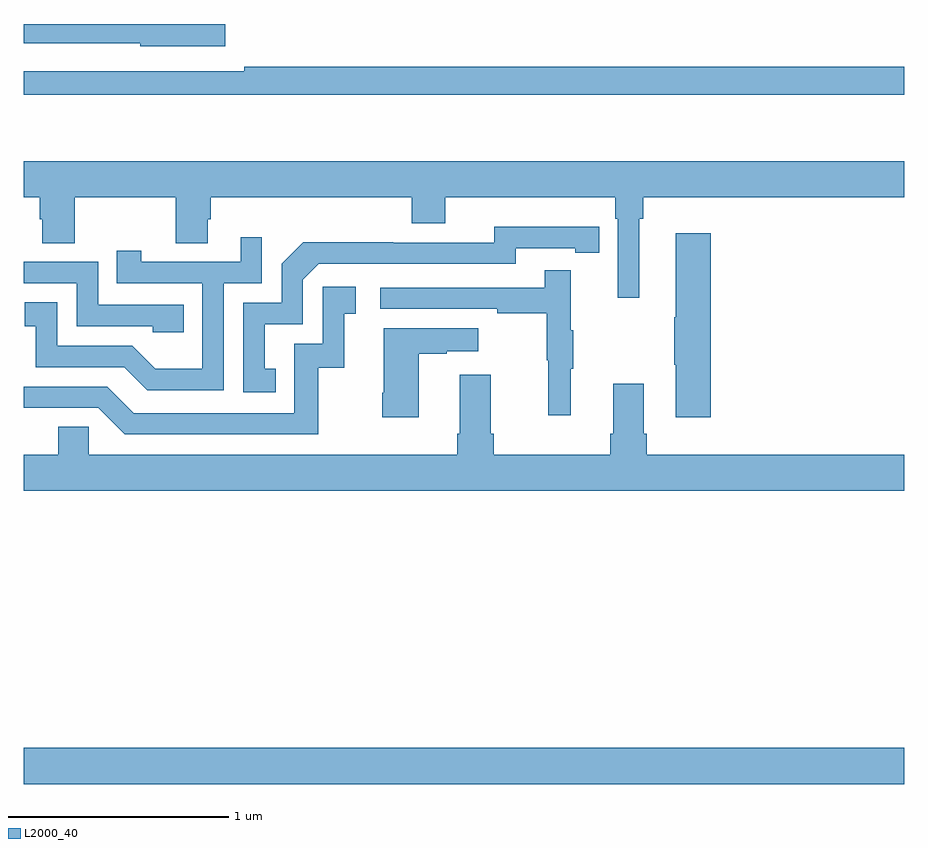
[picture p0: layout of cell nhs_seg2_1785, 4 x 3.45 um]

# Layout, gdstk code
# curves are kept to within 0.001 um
import gdstk
lib = gdstk.Library(unit=1e-6, precision=1e-09)
def R(c, l, rs):  # rectangles x0, y0, x1, y1
    for r in rs: c.add(gdstk.rectangle(r[:2], r[2:], *l))
def P(c, l, *ps):  # polygons
    for p in ps: c.add(gdstk.Polygon(p, *l))
L2000_40 = (2000, 40)

nhs_seg2_1785 = lib.new_cell('nhs_seg2_1785')
R(nhs_seg2_1785, L2000_40, [(205,602.348,209,602.512)])
P(nhs_seg2_1785, L2000_40, [(205.915,605.8),(205,605.8),(205,605.712),(205.53,605.712),(205.53,605.699),(205.915,605.699)],
  [(209,605.606),(206.002,605.606),(206.002,605.586),(205,605.586),(205,605.478),(209,605.478)],
  [(207.796,604.916),(207.815,604.916),(207.815,605.012),(209,605.012),(209,605.176),(205,605.176),(205,605.012),(205.073,605.012),(205.073,604.914),(205.085,604.914),(205.085,604.804),(205.233,604.804),(205.233,605.012),(205.69,605.012),(205.69,604.804),(205.837,604.804),(205.837,604.914),(205.85,604.914),(205.85,605.012),(206.762,605.012),(206.762,604.895),(206.914,604.895),(206.914,605.012),(207.686,605.012),(207.686,604.916),(207.699,604.916),(207.699,604.557),(207.796,604.557)],
  [(206.144,604.233),(206.095,604.233),(206.095,604.437),(206.268,604.437),(206.268,604.638),(206.34,604.71),(207.234,604.71),(207.234,604.782),(207.506,604.782),(207.506,604.762),(207.614,604.762),(207.614,604.878),(207.138,604.879),(207.138,604.806),(206.678,604.806),(206.678,604.808),(206.27,604.808),(206.172,604.71),(206.172,604.533),(205.998,604.533),(205.998,604.128),(206.144,604.128)],
  [(208.121,604.849),(207.962,604.849),(207.962,604.469),(207.955,604.469),(207.955,604.252),(207.962,604.252),(207.962,604.014),(208.121,604.014)],
  [(205.908,604.623),(206.082,604.623),(206.082,604.831),(205.985,604.831),(205.985,604.719),(205.534,604.719),(205.534,604.771),(205.423,604.771),(205.423,604.623),(205.812,604.623),(205.812,604.234),(205.598,604.234),(205.494,604.338),(205.152,604.338),(205.152,604.537),(205.005,604.537),(205.005,604.427),(205.054,604.427),(205.054,604.242),(205.457,604.242),(205.562,604.137),(205.908,604.137)],
  [(205.727,604.524),(205.338,604.524),(205.338,604.719),(205,604.719),(205,604.623),(205.242,604.623),(205.242,604.428),(205.587,604.428),(205.587,604.401),(205.727,604.401)],
  [(207.485,604.235),(207.496,604.235),(207.496,604.409),(207.485,604.409),(207.485,604.681),(207.367,604.681),(207.367,604.602),(206.619,604.602),(206.619,604.506),(207.151,604.506),(207.151,604.486),(207.375,604.486),(207.375,604.272),(207.382,604.272),(207.382,604.023),(207.485,604.023)],
  [(206.338,604.239),(206.456,604.239),(206.456,604.485),(206.509,604.485),(206.509,604.606),(206.358,604.606),(206.358,604.347),(206.229,604.347),(206.229,604.032),(205.5,604.032),(205.38,604.152),(205,604.152),(205,604.056),(205.338,604.056),(205.458,603.936),(206.338,603.936)],
  [(206.794,604.303),(206.921,604.303),(206.921,604.313),(207.064,604.313),(207.064,604.417),(206.636,604.417),(206.636,604.126),(206.629,604.126),(206.629,604.014),(206.794,604.014)],
  [(209,603.844),(207.83,603.844),(207.83,603.94),(207.817,603.94),(207.817,604.165),(207.677,604.165),(207.677,603.94),(207.665,603.94),(207.665,603.844),(207.134,603.844),(207.134,603.94),(207.121,603.94),(207.121,604.207),(206.981,604.207),(206.981,603.94),(206.969,603.94),(206.969,603.844),(205.296,603.844),(205.296,603.971),(205.157,603.971),(205.157,603.844),(205,603.844),(205,603.68),(209,603.68)])

lib.write_gds('nhs_seg2_1785.gds')
